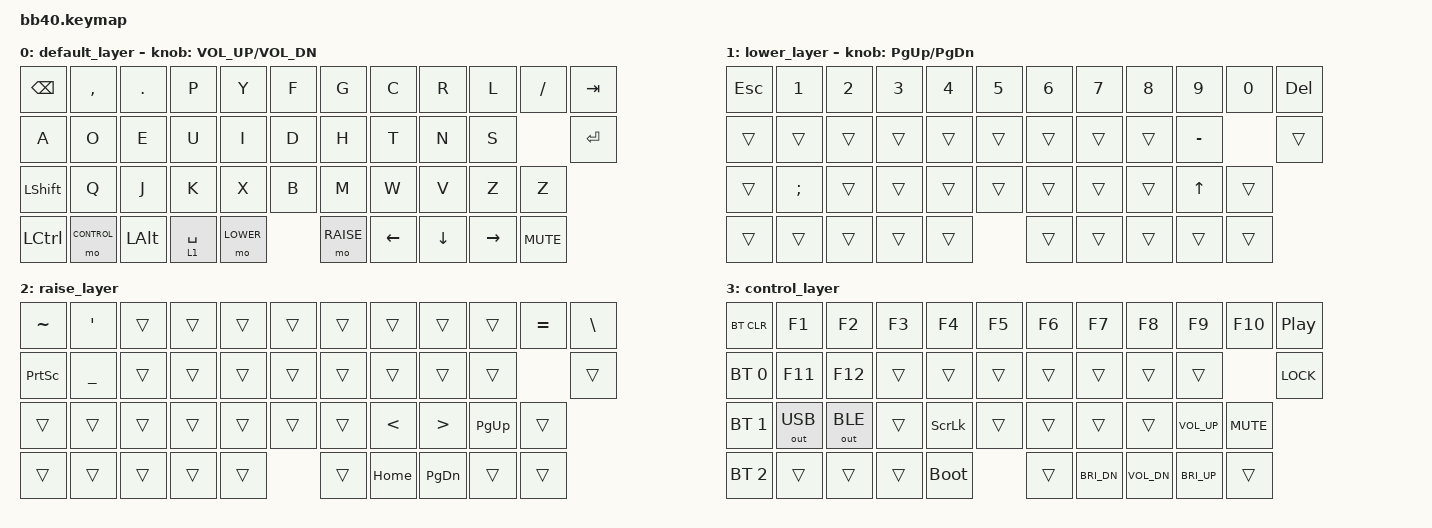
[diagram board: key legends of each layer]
/*
 * Copyright (c) 2023 The ZMK Contributors
 *
 * SPDX-License-Identifier: MIT
 */

#include <behaviors.dtsi>
#include <dt-bindings/zmk/keys.h>
#include <dt-bindings/zmk/bt.h>
#include <dt-bindings/zmk/outputs.h>

// Remove this node if you didn't build with an encoder.
&encoder {
    status = "okay";
};

/ {
    keymap {
        compatible = "zmk,keymap";
        #define DEFAULT 0
        #define LOWER   1
        #define RAISE   2
        #define CONTROL 3

        default_layer {
            bindings = <
                &kp BSPC  &kp COMMA  &kp DOT  &kp P     &kp Y     &kp F      &kp G      &kp C     &kp R     &kp L     &kp FSLH   &kp TAB
                &kp A      &kp O      &kp E     &kp U    &kp I     &kp D      &kp H      &kp T     &kp N     &kp S         &kp ENTER
                &kp LSHFT    &kp Q     &kp J     &kp K     &kp X     &kp B      &kp M     &kp W      &kp V     &kp Z      &kp Z
                &kp LCTRL  &mo CONTROL  &kp LALT  &lt 1 SPACE      &mo LOWER     &mo RAISE            &kp LEFT  &kp DOWN  &kp RIGHT  &kp C_MUTE
            >;
            sensor-bindings = <&inc_dec_kp C_VOL_UP C_VOL_DN>;
        };

        lower_layer {
            bindings = <
                &kp ESC   &kp N1     &kp N2    &kp N3      &kp N4     &kp N5   &kp N6    &kp N7    &kp N8    &kp N9     &kp N0  &kp DEL
                &trans     &trans     &trans     &trans     &trans     &trans    &trans    &trans   &trans   &kp MINUS      &trans
                &trans     &kp SEMI    &trans     &trans     &trans     &trans    &trans    &trans   &trans      &kp UP   &trans
                &trans     &trans       &trans      &trans          &trans        &trans              &trans   &trans    &trans    &trans
            >;
            sensor-bindings = <&inc_dec_kp PG_UP PG_DN>;
        };

        raise_layer {
            bindings = <
                &kp TILDE  &kp APOS   &trans      &trans    &trans    &trans    &trans    &trans     &trans     &trans      &kp EQUAL      &kp BSLH
                &kp PSCRN  &kp UNDER  &trans  &trans    &trans    &trans     &trans     &trans  &trans  &trans             &trans
                &trans     &trans     &trans    &trans    &trans    &trans     &trans     &kp LT    &kp GT               &kp PG_UP  &trans
                &trans     &trans     &trans    &trans             &trans               &trans             &kp HOME   &kp PG_DN  &trans   &trans
            >;
        };

        control_layer {
            bindings = <
                &bt BT_CLR    &kp F1        &kp F2           &kp F3      &kp F4    &kp F5  &kp F6  &kp F7     &kp F8   &kp F9        &kp F10       &kp C_PP
                &bt BT_SEL 0  &kp F11       &kp F12          &trans      &trans    &trans  &trans  &trans     &trans   &trans                      &kp K_LOCK
                &bt BT_SEL 1  &out OUT_USB  &out OUT_BLE     &trans  &kp SLCK  &trans  &trans  &trans  &trans                &kp K_VOL_UP  &kp K_MUTE
                &bt BT_SEL 2  &trans  &trans  &trans            &bootloader     &trans         &kp C_BRI_DN  &kp K_VOL_DN  &kp C_BRI_UP   &trans
            >;
        }; 
    };
};
